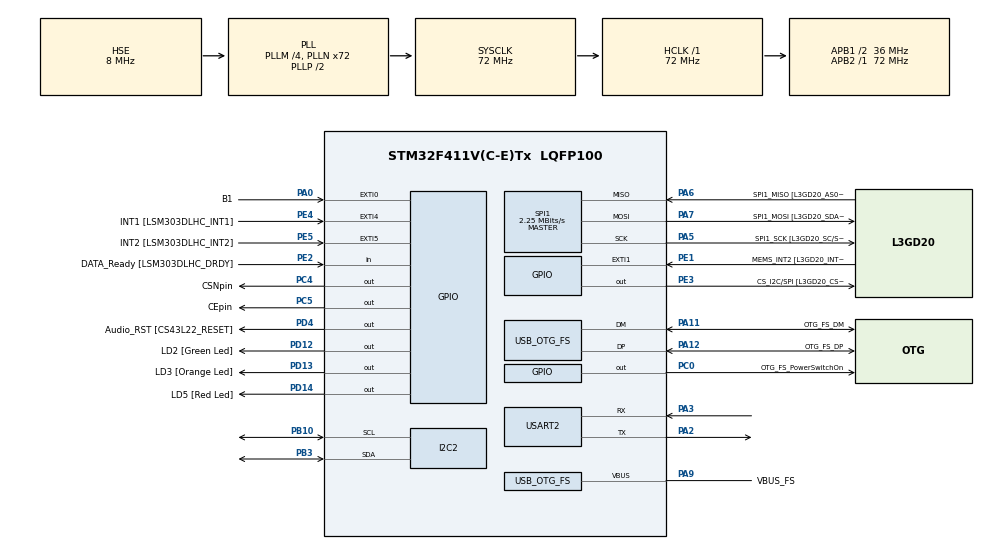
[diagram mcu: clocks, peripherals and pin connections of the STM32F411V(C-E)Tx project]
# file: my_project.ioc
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Mcu.Family=STM32F4
Mcu.Name=STM32F411V(C-E)Tx
Mcu.Package=LQFP100
NVIC.EXTI0_IRQn=true\:0\:0\:false\:false\:true\:true\:true
NVIC.OTG_FS_IRQn=true\:0\:0\:false\:false\:true\:true\:true
NVIC.PriorityGroup=NVIC_PRIORITYGROUP_0
NVIC.USART2_IRQn=true\:0\:0\:false\:false\:true\:true\:true
PA0-WKUP.GPIO_Label=B1
PA0-WKUP.GPIO_ModeDefaultEXTI=GPIO_MODE_IT_FALLING
PA0-WKUP.Signal=GPXTI0
PA11.GPIO_Label=OTG_FS_DM
PA11.Mode=Device_Only
PA11.Signal=USB_OTG_FS_DM
PA12.GPIO_Label=OTG_FS_DP
PA12.Mode=Device_Only
PA12.Signal=USB_OTG_FS_DP
PA13.GPIO_Label=SWDIO
PA13.Mode=Serial_Wire
PA13.Signal=SYS_JTMS-SWDIO
PA14.GPIO_Label=SWCLK
PA14.Mode=Serial_Wire
PA14.Signal=SYS_JTCK-SWCLK
PA2.Mode=Asynchronous
PA2.Signal=USART2_TX
PA3.Mode=Asynchronous
PA3.Signal=USART2_RX
PA5.GPIO_Label=SPI1_SCK [L3GD20_SC/SPC]
PA5.Mode=Full_Duplex_Master
PA5.Signal=SPI1_SCK
PA6.GPIO_Label=SPI1_MISO [L3GD20_AS0/SDO]
PA6.Mode=Full_Duplex_Master
PA6.Signal=SPI1_MISO
PA7.GPIO_Label=SPI1_MOSI [L3GD20_SDA/SDI/SDO]
PA7.Mode=Full_Duplex_Master
PA7.Signal=SPI1_MOSI
PA9.GPIO_Label=VBUS_FS
PA9.Mode=Activate_VBUS
PA9.Signal=USB_OTG_FS_VBUS
PB10.Mode=I2C
PB10.Signal=I2C2_SCL
PB3.Mode=I2C
PB3.Signal=I2C2_SDA
PB6.GPIO_Label=Audio_SCL [CS43L22_SCL]
PB6.GPIO_Mode=GPIO_MODE_AF_OD
PB6.GPIO_Pu=GPIO_PULLUP
PB6.GPIO_PuPd=GPIO_NOPULL
PB6.GPIO_Speed=GPIO_SPEED_FREQ_LOW
PB6.Signal=I2C1_SCL
PB9.GPIO_Label=Audio_SDA [CS43L22_SDA]
PB9.GPIO_Mode=GPIO_MODE_AF_OD
PB9.GPIO_Pu=GPIO_PULLUP
PB9.GPIO_PuPd=GPIO_NOPULL
PB9.GPIO_Speed=GPIO_SPEED_FREQ_LOW
PB9.Signal=I2C1_SDA
PC0.GPIO_Label=OTG_FS_PowerSwitchOn
PC0.PinState=GPIO_PIN_SET
PC0.Signal=GPIO_Output
PC4.GPIO_Label=CSNpin
PC4.Signal=GPIO_Output
PC5.GPIO_Label=CEpin
PC5.Signal=GPIO_Output
PD12.GPIO_Label=LD2 [Green Led]
PD12.GPIO_PuPd=GPIO_NOPULL
PD12.GPIO_Speed=GPIO_SPEED_FREQ_LOW
PD12.Signal=GPIO_Output
PD13.GPIO_Label=LD3 [Orange Led]
PD13.GPIO_PuPd=GPIO_NOPULL
PD13.GPIO_Speed=GPIO_SPEED_FREQ_LOW
PD13.Signal=GPIO_Output
PD14.GPIO_Label=LD5 [Red Led]
PD14.GPIO_PuPd=GPIO_NOPULL
PD14.GPIO_Speed=GPIO_SPEED_FREQ_LOW
PD14.Signal=GPIO_Output
PD4.GPIO_Label=Audio_RST [CS43L22_RESET]
PD4.Signal=GPIO_Output
PE1.GPIO_Label=MEMS_INT2 [L3GD20_INT2]
PE1.GPIO_ModeDefaultEXTI=GPIO_MODE_EVT_RISING
PE1.Signal=GPXTI1
PE2.GPIO_Label=DATA_Ready [LSM303DLHC_DRDY]
PE2.Signal=GPIO_Input
PE3.GPIO_Label=CS_I2C/SPI [L3GD20_CS_I2C/SPI]
PE3.Signal=GPIO_Output
PE4.GPIO_Label=INT1 [LSM303DLHC_INT1]
PE4.GPIO_ModeDefaultEXTI=GPIO_MODE_EVT_RISING
PE4.Signal=GPXTI4
PE5.GPIO_Label=INT2 [LSM303DLHC_INT2]
PE5.GPIO_ModeDefaultEXTI=GPIO_MODE_EVT_RISING
PE5.Signal=GPXTI5
PH0\ -\ OSC_IN.GPIO_Label=PH0-OSC_IN
PH0\ -\ OSC_IN.Mode=HSE-External-Oscillator
PH0\ -\ OSC_IN.Signal=RCC_OSC_IN
PH1\ -\ OSC_OUT.GPIO_Label=PH1-OSC_OUT
PH1\ -\ OSC_OUT.Mode=HSE-External-Oscillator
PH1\ -\ OSC_OUT.Signal=RCC_OSC_OUT
ProjectManager.HeapSize=0x200
ProjectManager.StackSize=0x400
ProjectManager.TargetToolchain=STM32CubeIDE
RCC.48MHZClocksFreq_Value=48000000
RCC.AHBFreq_Value=72000000
RCC.APB1CLKDivider=RCC_HCLK_DIV2
RCC.APB1Freq_Value=36000000
RCC.APB1TimFreq_Value=72000000
RCC.APB2Freq_Value=72000000
RCC.APB2TimFreq_Value=72000000
RCC.CortexFreq_Value=72000000
RCC.HCLKFreq_Value=72000000
RCC.HSE_VALUE=8000000
RCC.HSI_VALUE=16000000
RCC.LSE_VALUE=32768
RCC.PLLI2SM=5
RCC.PLLI2SN=200
RCC.PLLM=4
RCC.PLLN=72
RCC.PLLQ=3
RCC.SYSCLKFreq_VALUE=72000000
RCC.SYSCLKSource=RCC_SYSCLKSOURCE_PLLCLK
RCC.VCOOutputFreq_Value=144000000
SPI1.BaudRatePrescaler=SPI_BAUDRATEPRESCALER_32
SPI1.CalculateBaudRate=2.25 MBits/s
SPI1.Direction=SPI_DIRECTION_2LINES
SPI1.Mode=SPI_MODE_MASTER
SPI1.VirtualType=VM_MASTER
USART2.VirtualMode=VM_ASYNC
USB_DEVICE.CLASS_NAME_FS=CDC
USB_DEVICE.VirtualMode=Cdc
USB_DEVICE.VirtualModeFS=Cdc_FS
USB_OTG_FS.VirtualMode=Device_Only
VP_USB_DEVICE_VS_USB_DEVICE_CDC_FS.Mode=CDC_FS
board=STM32F411E-DISCO

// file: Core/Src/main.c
/* USER CODE BEGIN Header */
/**
  ******************************************************************************
  * @file           : main.c
  * @brief          : Main program body
  ******************************************************************************
  * @attention
  *
  * Copyright (c) 2021 STMicroelectronics.
  * All rights reserved.
  *
  * This software is licensed under terms that can be found in the LICENSE file
  * in the root directory of this software component.
  * If no LICENSE file comes with this software, it is provided AS-IS.
  *
  ******************************************************************************
  */
/* USER CODE END Header */
#include "main.h"
#include "i2c.h"
#include "spi.h"
#include "usart.h"
#include "usb_device.h"
#include "gpio.h"

/* USER CODE BEGIN Includes */

#include "MPU6050_mylib.h"

/* USER CODE END Includes */

void SystemClock_Config(void);

int main(void)
{

  /* MCU Configuration--------------------------------------------------------*/

  /* Reset of all peripherals, Initializes the Flash interface and the Systick. */
  HAL_Init();

  /* Configure the system clock */
  SystemClock_Config();

  /* Initialize all configured peripherals */
  MX_GPIO_Init();
  MX_USB_DEVICE_Init();
  MX_USART2_UART_Init();
  MX_SPI1_Init();
  MX_I2C2_Init();
  /* USER CODE BEGIN 2 */

  uint8_t DataToSend[40] = {0}; // Tablica zawierajaca dane do wyslania
  uint8_t MessageLength = 0; // Zawiera dlugosc wysylanej wiadomosci
  const uint8_t mes_count = 10;

  //struktura przechowująca dane odczytane z mierników
  MPU6050_data sensor_data, tmp_data;
  sensor_data.acc_x = 0;
  sensor_data.acc_y = 0;
  sensor_data.acc_z = 0;
  sensor_data.gyro_x = 0;
  sensor_data.gyro_y = 0;
  sensor_data.gyro_z = 0;

  //częstotliwość pomiarów w Hz, domyślnie 5; wartość można edytować z poziomu komputera
  uint32_t measurementsFreq = 2, prevTime = HAL_GetTick(), recVal=0;

  //inicjalizacja czujnika MPU6050
  if(MPU6050_init()!=0){
	  while(1){
		  HAL_GPIO_TogglePin(LD3_GPIO_Port, LD3_Pin);
		  HAL_Delay(500);
	  }
  }
  /* USER CODE END 2 */

  /* Infinite loop */
  /* USER CODE BEGIN WHILE */
  while (1)
  {
//	  for(int i=0;i<mes_count;i++){
		  MPU6050_measure(&sensor_data);
//		  sensor_data.acc_x += tmp_data.acc_x;
//		  sensor_data.acc_y += tmp_data.acc_y;
//		  sensor_data.acc_z += tmp_data.acc_z;
//		  sensor_data.gyro_x += tmp_data.gyro_x;
//		  sensor_data.gyro_y += tmp_data.gyro_y;
//		  sensor_data.gyro_z += tmp_data.gyro_z;
//		  HAL_Delay(5);
//	  }
//	  	  	  sensor_data.acc_x /= (float)mes_count;
//	  		  sensor_data.acc_y /= (float)mes_count;
//	  		  sensor_data.acc_z /= (float)mes_count;
//	  		  sensor_data.gyro_x /= (float)mes_count;
//	  		  sensor_data.gyro_y /= (float)mes_count;
//	  		  sensor_data.gyro_z /= (float)mes_count;

			MessageLength = sprintf(DataToSend, "%0.2f %0.2f %0.2f %0.2f %0.2f %0.2f \n\r", sensor_data.acc_x,sensor_data.acc_y,sensor_data.acc_z,sensor_data.gyro_x,sensor_data.gyro_y,sensor_data.gyro_z);

			CDC_Transmit_FS(DataToSend, MessageLength);

			  sensor_data.acc_x = 0;
			  sensor_data.acc_y = 0;
			  sensor_data.acc_z = 0;
			  sensor_data.gyro_x = 0;
			  sensor_data.gyro_y = 0;
			  sensor_data.gyro_z = 0;

			  HAL_Delay(10);

    /* USER CODE END WHILE */

  }
}

void SystemClock_Config(void)
{
  RCC_OscInitTypeDef RCC_OscInitStruct = {0};
  RCC_ClkInitTypeDef RCC_ClkInitStruct = {0};

  /** Configure the main internal regulator output voltage
  */
  __HAL_RCC_PWR_CLK_ENABLE();
  __HAL_PWR_VOLTAGESCALING_CONFIG(PWR_REGULATOR_VOLTAGE_SCALE1);
  /** Initializes the RCC Oscillators according to the specified parameters
  * in the RCC_OscInitTypeDef structure.
  */
  RCC_OscInitStruct.OscillatorType = RCC_OSCILLATORTYPE_HSE;
  RCC_OscInitStruct.HSEState = RCC_HSE_ON;
  RCC_OscInitStruct.PLL.PLLState = RCC_PLL_ON;
  RCC_OscInitStruct.PLL.PLLSource = RCC_PLLSOURCE_HSE;
  RCC_OscInitStruct.PLL.PLLM = 4;
  RCC_OscInitStruct.PLL.PLLN = 72;
  RCC_OscInitStruct.PLL.PLLP = RCC_PLLP_DIV2;
  RCC_OscInitStruct.PLL.PLLQ = 3;
  if (HAL_RCC_OscConfig(&RCC_OscInitStruct) != HAL_OK)
  {
    Error_Handler();
  }
  /** Initializes the CPU, AHB and APB buses clocks
  */
  RCC_ClkInitStruct.ClockType = RCC_CLOCKTYPE_HCLK|RCC_CLOCKTYPE_SYSCLK
                              |RCC_CLOCKTYPE_PCLK1|RCC_CLOCKTYPE_PCLK2;
  RCC_ClkInitStruct.SYSCLKSource = RCC_SYSCLKSOURCE_PLLCLK;
  RCC_ClkInitStruct.AHBCLKDivider = RCC_SYSCLK_DIV1;
  RCC_ClkInitStruct.APB1CLKDivider = RCC_HCLK_DIV2;
  RCC_ClkInitStruct.APB2CLKDivider = RCC_HCLK_DIV1;

  if (HAL_RCC_ClockConfig(&RCC_ClkInitStruct, FLASH_LATENCY_2) != HAL_OK)
  {
    Error_Handler();
  }
}

void Error_Handler(void)
{
  __disable_irq();
  while (1)
  {
  }
}
